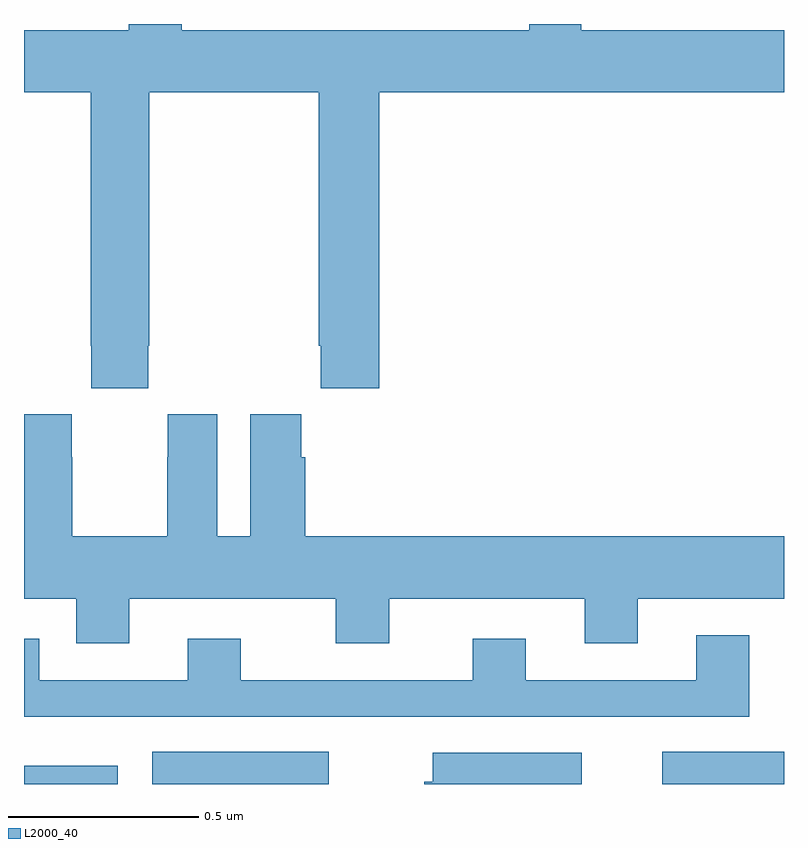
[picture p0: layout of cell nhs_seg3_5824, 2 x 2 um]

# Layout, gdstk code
import gdstk
lib = gdstk.Library(unit=1e-6, precision=1e-09)
def R(c, l, rs):  # rectangles x0, y0, x1, y1
    for r in rs: c.add(gdstk.rectangle(r[:2], r[2:], *l))
def P(c, l, *ps):  # polygons
    for p in ps: c.add(gdstk.Polygon(p, *l))
L2000_40 = (2000, 40)

nhs_seg3_5824 = lib.new_cell('nhs_seg3_5824')
R(nhs_seg3_5824, L2000_40, [(183,728.4,183.247,728.448), (183.338,728.4,183.802,728.485), (184.679,728.4,185,728.485)])
P(nhs_seg3_5824, L2000_40, [(183.327,729.553),(183.33,729.553),(183.33,730.22),(183.775,730.22),(183.775,729.553),(183.781,729.553),(183.781,729.441),(183.935,729.441),(183.935,730.22),(185,730.22),(185,730.384),(184.467,730.384),(184.467,730.4),(184.329,730.4),(184.329,730.384),(183.415,730.384),(183.415,730.4),(183.275,730.4),(183.275,730.384),(183,730.384),(183,730.22),(183.175,730.22),(183.175,729.553),(183.177,729.553),(183.177,729.441),(183.327,729.441)],
  [(183.277,728.888),(183.821,728.888),(183.821,728.771),(183.961,728.771),(183.961,728.888),(184.475,728.888),(184.475,728.771),(184.615,728.771),(184.615,728.888),(185,728.888),(185,729.052),(183.74,729.052),(183.74,729.26),(183.73,729.26),(183.73,729.373),(183.596,729.373),(183.596,729.052),(183.508,729.052),(183.508,729.373),(183.378,729.373),(183.378,729.26),(183.377,729.26),(183.377,729.052),(183.127,729.052),(183.127,729.26),(183.126,729.26),(183.126,729.373),(183,729.373),(183,728.888),(183.137,728.888),(183.137,728.771),(183.277,728.771)],
  [(184.909,728.791),(184.769,728.791),(184.769,728.673),(184.321,728.673),(184.321,728.782),(184.181,728.782),(184.181,728.673),(183.571,728.673),(183.571,728.782),(183.431,728.782),(183.431,728.673),(183.04,728.673),(183.04,728.782),(183,728.782),(183,728.577),(184.909,728.577)],
  [(184.468,728.482),(184.076,728.482),(184.076,728.406),(184.053,728.406),(184.053,728.4),(184.468,728.4)])

lib.write_gds('nhs_seg3_5824.gds')
